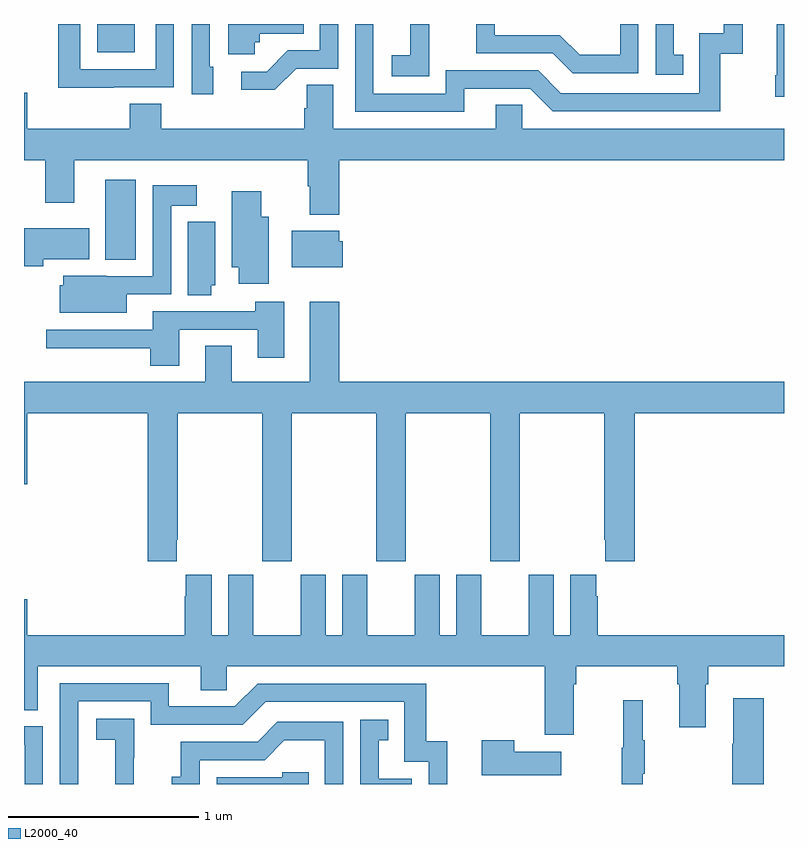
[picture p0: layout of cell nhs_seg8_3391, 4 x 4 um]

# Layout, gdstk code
import gdstk
lib = gdstk.Library(unit=1e-6, precision=1e-09)
def R(c, l, rs):  # rectangles x0, y0, x1, y1
    for r in rs: c.add(gdstk.rectangle(r[:2], r[2:], *l))
def P(c, l, *ps):  # polygons
    for p in ps: c.add(gdstk.Polygon(p, *l))
L2000_40 = (2000, 40)

nhs_seg8_3391 = lib.new_cell('nhs_seg8_3391')
R(nhs_seg8_3391, L2000_40, [(321.428,1098.659,321.589,1099.081), (321.386,1099.751,321.583,1099.9)])
P(nhs_seg8_3391, L2000_40, [(323.133,1099.831),(323.132,1099.831),(323.132,1099.9),(323.033,1099.9),(323.033,1099.735),(322.935,1099.735),(322.935,1099.625),(323.133,1099.625)],
  [(322.215,1099.803),(322.242,1099.803),(322.242,1099.85),(322.472,1099.85),(322.472,1099.9),(322.076,1099.9),(322.076,1099.742),(322.215,1099.742)],
  [(325,1099.9),(324.962,1099.9),(324.962,1099.63),(324.955,1099.63),(324.955,1099.518),(325,1099.518)],
  [(324.234,1099.9),(324.138,1099.9),(324.138,1099.738),(323.924,1099.738),(323.82,1099.842),(323.478,1099.842),(323.478,1099.9),(323.38,1099.9),(323.38,1099.746),(323.783,1099.746),(323.888,1099.641),(324.234,1099.641)],
  [(324.47,1099.737),(324.421,1099.737),(324.421,1099.9),(324.324,1099.9),(324.324,1099.632),(324.47,1099.632)],
  [(322.434,1099.665),(322.653,1099.665),(322.653,1099.9),(322.557,1099.9),(322.557,1099.761),(322.388,1099.761),(322.277,1099.65),(322.143,1099.65),(322.143,1099.553),(322.321,1099.553)],
  [(321.997,1099.674),(321.978,1099.674),(321.978,1099.9),(321.882,1099.9),(321.882,1099.53),(321.997,1099.53)],
  [(321.473,1099.566),(321.789,1099.566),(321.789,1099.9),(321.693,1099.9),(321.693,1099.662),(321.297,1099.662),(321.297,1099.9),(321.181,1099.9),(321.181,1099.565),(321.473,1099.565)],
  [(323.317,1099.56),(323.664,1099.56),(323.784,1099.44),(324.664,1099.44),(324.664,1099.743),(324.782,1099.743),(324.782,1099.9),(324.684,1099.9),(324.684,1099.851),(324.555,1099.851),(324.555,1099.536),(323.826,1099.536),(323.706,1099.656),(323.22,1099.656),(323.22,1099.533),(322.839,1099.533),(322.839,1099.9),(322.743,1099.9),(322.743,1099.437),(323.317,1099.437)],
  [(322.658,1099.184),(325,1099.184),(325,1099.348),(323.622,1099.348),(323.622,1099.475),(323.483,1099.475),(323.483,1099.348),(322.627,1099.348),(322.627,1099.58),(322.488,1099.58),(322.488,1099.457),(322.475,1099.457),(322.475,1099.348),(321.722,1099.348),(321.722,1099.481),(321.557,1099.481),(321.557,1099.348),(321.016,1099.348),(321.016,1099.537),(321,1099.537),(321,1099.184),(321.113,1099.184),(321.113,1098.96),(321.265,1098.96),(321.265,1099.184),(322.493,1099.184),(322.493,1099.046),(322.505,1099.046),(322.505,1098.896),(322.658,1098.896)],
  [(321.541,1098.477),(321.774,1098.477),(321.774,1098.944),(321.91,1098.944),(321.91,1099.051),(321.678,1099.051),(321.678,1098.573),(321.432,1098.573),(321.432,1098.574),(321.206,1098.574),(321.206,1098.525),(321.188,1098.525),(321.188,1098.38),(321.541,1098.38)],
  [(322.288,1098.886),(322.249,1098.886),(322.249,1099.021),(322.094,1099.021),(322.094,1098.62),(322.13,1098.62),(322.13,1098.534),(322.288,1098.534)],
  [(321.985,1098.525),(322.006,1098.525),(322.006,1098.859),(321.863,1098.859),(321.863,1098.472),(321.985,1098.472)],
  [(321.102,1098.662),(321.343,1098.662),(321.343,1098.826),(321,1098.826),(321,1098.625),(321.102,1098.625)],
  [(322.678,1098.756),(322.66,1098.756),(322.66,1098.811),(322.409,1098.811),(322.409,1098.62),(322.678,1098.62)],
  [(321,1097.478),(321.016,1097.478),(321.016,1097.852),(321.65,1097.852),(321.65,1097.073),(321.805,1097.073),(321.805,1097.185),(321.81,1097.185),(321.81,1097.852),(322.255,1097.852),(322.255,1097.073),(322.41,1097.073),(322.41,1097.852),(322.855,1097.852),(322.855,1097.073),(323.01,1097.073),(323.01,1097.852),(323.455,1097.852),(323.455,1097.073),(323.61,1097.073),(323.61,1097.852),(324.055,1097.852),(324.055,1097.185),(324.059,1097.185),(324.059,1097.073),(324.215,1097.073),(324.215,1097.852),(325,1097.852),(325,1098.016),(322.658,1098.016),(322.658,1098.439),(322.505,1098.439),(322.505,1098.016),(322.093,1098.016),(322.093,1098.206),(321.953,1098.206),(321.953,1098.016),(321,1098.016)],
  [(321.817,1098.291),(322.229,1098.291),(322.229,1098.144),(322.369,1098.144),(322.369,1098.439),(322.217,1098.439),(322.217,1098.387),(321.677,1098.387),(321.677,1098.291),(321.117,1098.291),(321.117,1098.194),(321.665,1098.194),(321.665,1098.102),(321.817,1098.102)],
  [(323.893,1096.424),(323.906,1096.424),(323.906,1096.52),(324.437,1096.52),(324.437,1096.424),(324.449,1096.424),(324.449,1096.2),(324.589,1096.2),(324.589,1096.424),(324.602,1096.424),(324.602,1096.52),(325,1096.52),(325,1096.684),(324.02,1096.684),(324.02,1096.889),(324.013,1096.889),(324.013,1097.002),(323.876,1097.002),(323.876,1096.684),(323.788,1096.684),(323.788,1097.002),(323.657,1097.002),(323.657,1096.684),(323.407,1096.684),(323.407,1097.002),(323.276,1097.002),(323.276,1096.684),(323.188,1096.684),(323.188,1097.002),(323.057,1097.002),(323.057,1096.684),(322.807,1096.684),(322.807,1097.002),(322.676,1097.002),(322.676,1096.684),(322.588,1096.684),(322.588,1097.002),(322.457,1097.002),(322.457,1096.684),(322.207,1096.684),(322.207,1097.002),(322.076,1097.002),(322.076,1096.684),(321.988,1096.684),(321.988,1097.002),(321.851,1097.002),(321.851,1096.889),(321.845,1096.889),(321.845,1096.684),(321.016,1096.684),(321.016,1096.873),(321,1096.873),(321,1096.288),(321.073,1096.288),(321.073,1096.52),(321.929,1096.52),(321.929,1096.393),(322.068,1096.393),(322.068,1096.52),(323.741,1096.52),(323.741,1096.158),(323.893,1096.158)],
  [(321.285,1096.335),(321.666,1096.335),(321.666,1096.212),(322.152,1096.212),(322.272,1096.332),(323.001,1096.332),(323.001,1096.017),(323.13,1096.017),(323.13,1095.9),(323.228,1095.9),(323.228,1096.126),(323.117,1096.126),(323.117,1096.428),(322.23,1096.428),(322.11,1096.308),(321.763,1096.308),(321.763,1096.431),(321.189,1096.431),(321.189,1095.9),(321.285,1095.9)],
  [(324.893,1096.351),(324.734,1096.351),(324.734,1096.112),(324.727,1096.112),(324.727,1095.9),(324.893,1095.9)],
  [(324.257,1095.955),(324.268,1095.955),(324.268,1096.129),(324.257,1096.129),(324.257,1096.342),(324.154,1096.342),(324.154,1096.092),(324.147,1096.092),(324.147,1095.9),(324.257,1095.9)],
  [(321.578,1096.037),(321.579,1096.037),(321.579,1096.243),(321.381,1096.243),(321.381,1096.133),(321.479,1096.133),(321.479,1095.905),(321.48,1095.905),(321.48,1095.9),(321.578,1095.9)],
  [(323.04,1095.927),(322.867,1095.927),(322.867,1096.131),(322.916,1096.131),(322.916,1096.237),(322.77,1096.237),(322.77,1095.9),(323.04,1095.9)],
  [(321.924,1096.026),(322.266,1096.026),(322.37,1096.13),(322.584,1096.13),(322.584,1095.9),(322.68,1095.9),(322.68,1096.227),(322.334,1096.227),(322.229,1096.122),(321.826,1096.122),(321.826,1095.937),(321.777,1095.937),(321.777,1095.9),(321.924,1095.9)],
  [(321.099,1096.203),(321,1096.203),(321,1096.107),(321.003,1096.107),(321.003,1095.9),(321.099,1095.9)],
  [(323.827,1096.069),(323.579,1096.069),(323.579,1096.129),(323.408,1096.129),(323.408,1095.947),(323.827,1095.947)],
  [(322.499,1095.963),(322.359,1095.963),(322.359,1095.936),(322.014,1095.936),(322.014,1095.9),(322.499,1095.9)])

lib.write_gds('nhs_seg8_3391.gds')
